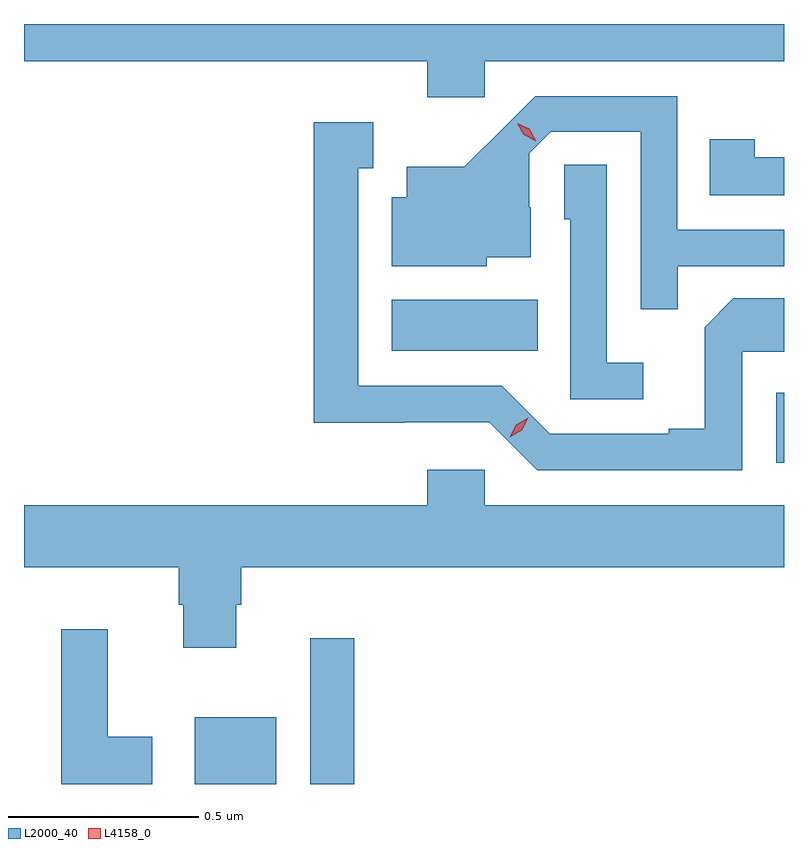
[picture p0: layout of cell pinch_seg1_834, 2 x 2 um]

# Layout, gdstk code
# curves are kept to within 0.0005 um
import gdstk
lib = gdstk.Library(unit=1e-6, precision=1e-09)
def R(c, l, rs):  # rectangles x0, y0, x1, y1
    for r in rs: c.add(gdstk.rectangle(r[:2], r[2:], *l))
def P(c, l, *ps):  # polygons
    for p in ps: c.add(gdstk.Polygon(p, *l))
L2000_40 = (2000, 40)
L4158_0 = (4158, 0)

pinch_seg1_834 = lib.new_cell('pinch_seg1_834')
R(pinch_seg1_834, L2000_40, [(461.861,568.478,462.076,568.654), (462.165,568.478,462.281,568.861), (463.391,569.324,463.412,569.508), (462.38,569.618,462.764,569.752)])
P(pinch_seg1_834, L2000_40, [(462.624,570.38),(463.412,570.38),(463.412,570.478),(461.412,570.478),(461.412,570.38),(462.473,570.38),(462.473,570.285),(462.624,570.285)],
  [(463.133,569.841),(463.412,569.841),(463.412,569.937),(463.131,569.937),(463.131,570.288),(462.758,570.288),(462.571,570.103),(462.419,570.103),(462.419,570.022),(462.38,570.022),(462.38,569.84),(462.63,569.84),(462.63,569.864),(462.745,569.864),(462.745,569.996),(462.741,569.996),(462.741,570.138),(462.798,570.195),(463.035,570.195),(463.035,569.728),(463.133,569.728)],
  [(463.302,569.616),(463.412,569.616),(463.412,569.756),(463.279,569.756),(463.203,569.68),(463.203,569.413),(463.109,569.413),(463.109,569.4),(462.795,569.4),(462.669,569.526),(462.292,569.526),(462.292,570.099),(462.331,570.099),(462.331,570.22),(462.174,570.22),(462.174,569.429),(462.414,569.429),(462.414,569.43),(462.636,569.43),(462.762,569.304),(463.302,569.304)],
  [(463.412,570.128),(463.335,570.128),(463.335,570.175),(463.216,570.175),(463.216,570.027),(463.412,570.027)],
  [(463.042,569.587),(462.945,569.587),(462.945,570.107),(462.834,570.107),(462.834,569.964),(462.849,569.964),(462.849,569.49),(463.042,569.49)],
  [(461.971,568.95),(461.984,568.95),(461.984,569.048),(463.412,569.048),(463.412,569.212),(462.624,569.212),(462.624,569.305),(462.473,569.305),(462.473,569.212),(461.412,569.212),(461.412,569.048),(461.819,569.048),(461.819,568.95),(461.831,568.95),(461.831,568.836),(461.971,568.836)],
  [(461.749,568.602),(461.632,568.602),(461.632,568.885),(461.51,568.885),(461.51,568.478),(461.749,568.478)])
P(pinch_seg1_834, L4158_0, [(462.69,569.391),(462.69,569.391),(462.707,569.423),(462.739,569.442),(462.739,569.442),(462.739,569.442),(462.722,569.409),(462.69,569.391)],
  [(462.758,570.171),(462.727,570.187),(462.71,570.217),(462.71,570.217),(462.71,570.217),(462.741,570.202),(462.759,570.172),(462.759,570.171)])

lib.write_gds('pinch_seg1_834.gds')
